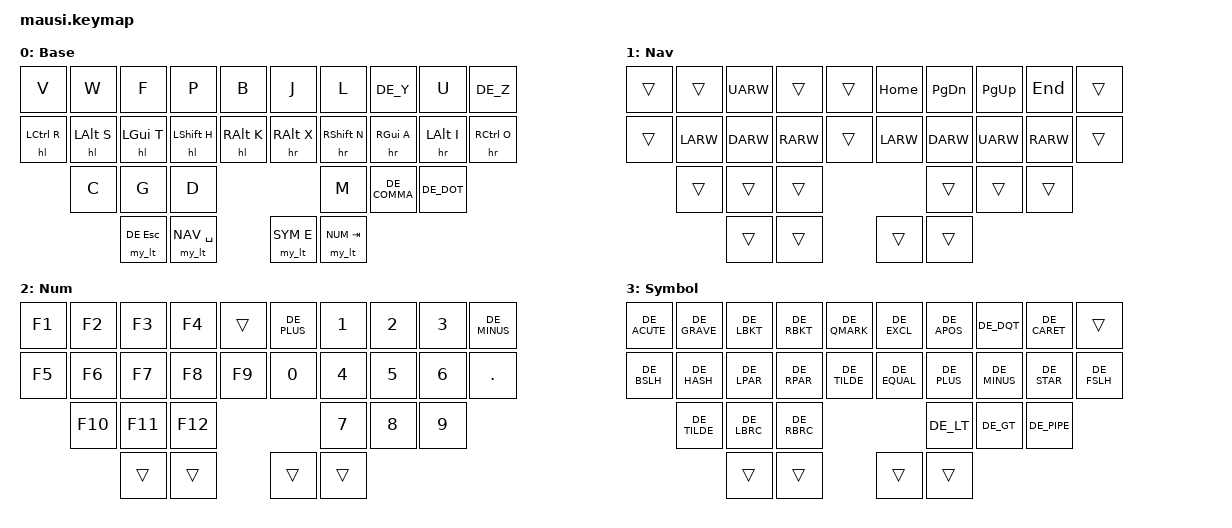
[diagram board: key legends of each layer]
  #include "base_mausi.h"


// mausi key numbers
//     __________________________  __________________________
// /  0  |  1  |  2  |  3  |  4  \/   5 |   6 |   7 |  8  |  9  \
// | 10  | 11  | 12  | 13  | 14  /\  15 |  16 |  17 |  18 | 19  |
//    \    20  | 21  | 22    /        \    23 |  24 |  25   /
//          \    26  | 27  /            \  28 |  29    /
//           --------------              --------------

/ {

    keymap {
        compatible = "zmk,keymap";

        apt_layer {
            label = "Base";
            bindings = <
       &kp V         &kp W        &kp F        &kp P          &kp B         &kp J         &kp L         &kp DE_Y     &kp U       &kp DE_Z
       &hl LCTRL R   &hl LALT S   &hl LGUI T   &hl LSHFT H    &hl RALT K    &hr RALT X    &hr RSHFT N   &hr RGUI A   &hr LALT I  &hr RCTRL O
                     &kp C        &kp G        &kp D                                      &kp M         &kp DE_COMMA &kp DE_DOT
                                  &my_lt DE ESC  &my_lt NAV SPACE  &my_lt SYM E        &my_lt NUM TAB
            >;
        };

        nav_layer {
            label = "Nav";
            bindings = <
       &trans     &trans     &kp UARW    &trans          &trans       &kp HOME         &kp PG_DN      &kp PG_UP   &kp END    &trans
       &trans     &kp LARW   &kp DARW    &kp RARW        &trans       &kp LARW         &kp DARW       &kp UARW    &kp RARW   &trans
                  &trans     &trans      &trans                                        &trans         &trans      &trans
                                         &trans          &trans       &trans           &trans
            >;
        };

        num_layer {
            label = "Num";
            bindings = <
       &kp F1     &kp F2     &kp F3      &kp F4          &trans        &kp DE_PLUS   &kp N1         &kp N2      &kp N3     &kp DE_MINUS
       &kp F5     &kp F6     &kp F7      &kp F8          &kp F9        &kp N0        &kp N4         &kp N5      &kp N6     &kp DOT
                  &kp F10    &kp F11     &kp F12                                     &kp N7         &kp N8      &kp N9
                                         &trans          &trans        &trans        &trans
            >;
        };

        symbol_layer {
            label = "Symbol";
            bindings = <
                &kp DE_ACUTE   &kp DE_GRAVE   &kp DE_LBKT    &kp DE_RBKT      &kp DE_QMARK   &kp DE_EXCL     &kp DE_APOS    &kp DE_DQT     &kp DE_CARET    &trans
                &kp DE_BSLH    &kp DE_HASH    &kp DE_LPAR    &kp DE_RPAR      &kp DE_TILDE   &kp DE_EQUAL    &kp DE_PLUS    &kp DE_MINUS   &kp DE_STAR    &kp DE_FSLH
                               &kp DE_TILDE   &kp DE_LBRC    &kp DE_RBRC                                     &kp DE_LT      &kp DE_GT      &kp DE_PIPE
                                                             &trans           &trans         &trans          &trans
            >;
        };

    };
};
